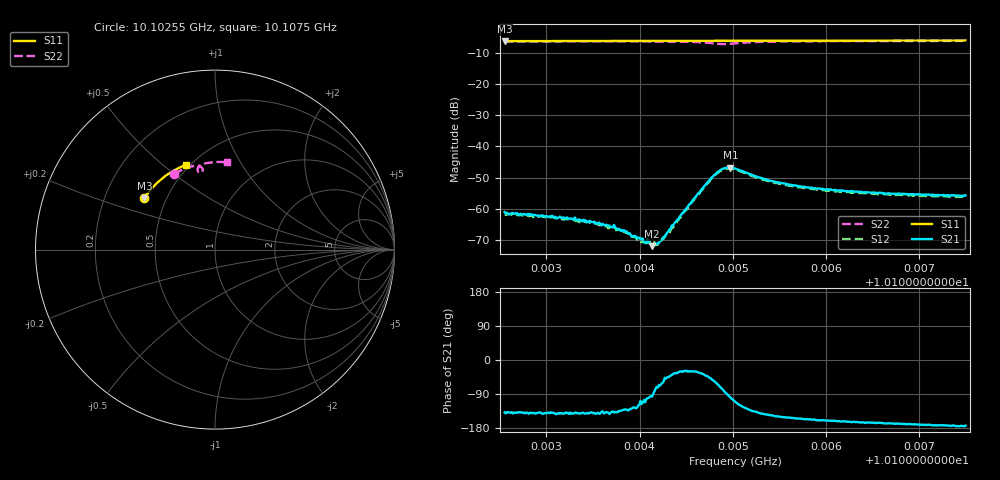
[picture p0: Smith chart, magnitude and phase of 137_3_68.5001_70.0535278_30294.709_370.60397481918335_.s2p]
#  HZ  S  RI  R  50.00
! Rohde & Schwarz Vector Network Analyzer
! Rohde-Schwarz,ZNB20-2Port,1311601062101988,3.16
! Created: UTC 3/20/2024, 5:09:52 PM
! freq[Hz]  re:S11  im:S11  re:S21  im:S21  re:S12  im:S12  re:S22  im:S22
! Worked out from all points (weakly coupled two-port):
!   401 points, 10.10255 GHz to 10.1075 GHz, reference 50 ohm
!   highest |S21| = -46.79 dB at 10.10497 GHz (marker M1); lowest = -72.0 dB at 10.10413 GHz (marker M2)
!   lowest |S11| = -6.3 dB at 10.10255 GHz (marker M3), VSWR 2.90, Z = 18.9 + j14.1 ohm
!   |S11| at or under -10 dB: nowhere
!   |S22| runs from -7.2 to -6.2 dB; largest |S21 - S12| = 0.00047
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1.0102551e10  -0.3934 0.2863  -0.000664 -0.00059  -0.000552 -0.000588  -0.2257 0.4223
1.0102588e10  -0.3922 0.2881  -0.000622 -0.000554  -0.000567 -0.00058  -0.2236 0.4235
1.010307e10  -0.3753 0.3122  -0.000572 -0.000491  -0.000527 -0.000516  -0.1956 0.4386
1.0103379e10  -0.3637 0.3269  -0.000479 -0.000407  -0.000436 -0.000464  -0.1767 0.4473
1.0103528e10  -0.3579 0.3339  -0.000455 -0.000351  -0.000424 -0.000407  -0.1673 0.4513
1.010375e10  -0.3491 0.344  -0.00036 -0.00033  -0.000293 -0.000343  -0.1529 0.4567
1.0103849e10  -0.3449 0.3486  -0.00028 -0.000325  -0.000242 -0.000332  -0.1462 0.4589
1.0103936e10  -0.3413 0.3524  -0.000206 -0.000297  -0.000205 -0.000308  -0.1402 0.4608
1.010401e10  -0.3382 0.3557  -9.97e-05 -0.000306  -0.000113 -0.000282  -0.135 0.4624
1.0104134e10  -0.3329 0.361  -2.74e-05 -0.00025  1.98e-05 -0.000256  -0.1257 0.4645
1.0104195e10  -0.3304 0.3637  8.44e-05 -0.000267  8.04e-05 -0.000252  -0.1208 0.4655
1.0104208e10  -0.3298 0.3641  0.000117 -0.000259  0.000109 -0.000254  -0.1199 0.4657
1.0104332e10  -0.3245 0.3694  0.000351 -0.000309  0.000371 -0.00025  -0.1097 0.467
1.0104579e10  -0.3134 0.3798  0.00123 -0.000726  0.00124 -0.000568  -0.0856 0.4645
1.0104764e10  -0.3048 0.387  0.00203 -0.00229  0.00213 -0.00202  -0.0687 0.448
1.0104876e10  -0.2997 0.3911  0.00119 -0.00408  0.00151 -0.0038  -0.0745 0.4311
1.0104975e10  -0.2952 0.3949  -0.000717 -0.00452  -0.000347 -0.00438  -0.0909 0.4315
1.0105024e10  -0.293 0.3969  -0.00151 -0.00416  -0.00107 -0.00412  -0.0958 0.4377
1.0105407e10  -0.2746 0.4111  -0.00231 -0.00157  -0.00211 -0.00172  -0.0758 0.4725
1.0105853e10  -0.2524 0.4264  -0.00201 -0.000828  -0.00181 -0.00101  -0.0421 0.4831
1.0106681e10  -0.2089 0.4513  -0.00172 -0.000388  -0.00159 -0.000542  0.0145 0.4883
1.0107498e10  -0.1638 0.4715  -0.00163 -0.000189  -0.00152 -0.000288  0.0678 0.4863
